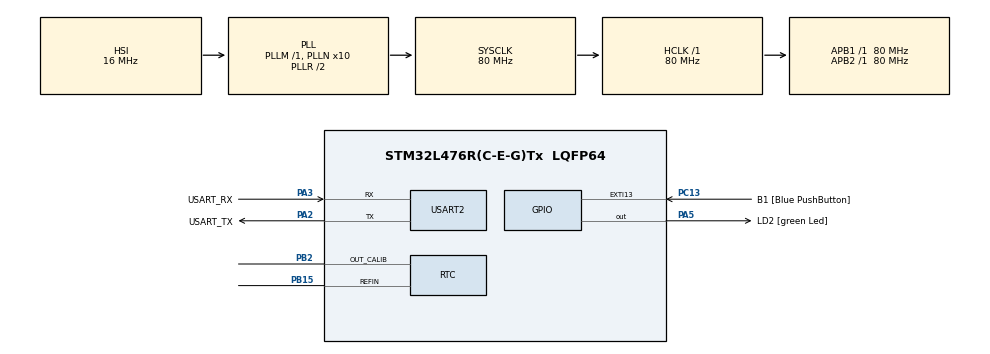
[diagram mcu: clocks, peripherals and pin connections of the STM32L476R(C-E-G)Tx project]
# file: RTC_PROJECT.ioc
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Mcu.Family=STM32L4
Mcu.Name=STM32L476R(C-E-G)Tx
Mcu.Package=LQFP64
NVIC.PriorityGroup=NVIC_PRIORITYGROUP_4
PA13\ (JTMS-SWDIO).GPIO_Label=TMS
PA13\ (JTMS-SWDIO).Mode=Serial_Wire
PA13\ (JTMS-SWDIO).Signal=SYS_JTMS-SWDIO
PA14\ (JTCK-SWCLK).GPIO_Label=TCK
PA14\ (JTCK-SWCLK).Mode=Serial_Wire
PA14\ (JTCK-SWCLK).Signal=SYS_JTCK-SWCLK
PA2.GPIO_Label=USART_TX
PA2.GPIO_Mode=GPIO_MODE_AF_PP
PA2.GPIO_PuPd=GPIO_NOPULL
PA2.GPIO_Speed=GPIO_SPEED_FREQ_VERY_HIGH
PA2.Mode=Asynchronous
PA2.Signal=USART2_TX
PA3.GPIO_Label=USART_RX
PA3.GPIO_Mode=GPIO_MODE_AF_PP
PA3.GPIO_PuPd=GPIO_NOPULL
PA3.GPIO_Speed=GPIO_SPEED_FREQ_VERY_HIGH
PA3.Mode=Asynchronous
PA3.Signal=USART2_RX
PA5.GPIO_Label=LD2 [green Led]
PA5.GPIO_ModeDefaultOutputPP=GPIO_MODE_OUTPUT_PP
PA5.GPIO_PuPd=GPIO_NOPULL
PA5.GPIO_Speed=GPIO_SPEED_FREQ_LOW
PA5.Signal=GPIO_Output
PB15.Mode=Reference_Clock_Detection_Activate
PB15.Signal=RTC_REFIN
PB2.Mode=Calibration_1Hz
PB2.Signal=RTC_OUT_CALIB
PB3\ (JTDO-TRACESWO).GPIO_Label=SWO
PB3\ (JTDO-TRACESWO).Signal=SYS_JTDO-SWO
PC13.GPIO_Label=B1 [Blue PushButton]
PC13.GPIO_ModeDefaultEXTI=GPIO_MODE_IT_FALLING
PC13.GPIO_PuPd=GPIO_NOPULL
PC13.Signal=GPXTI13
PC14-OSC32_IN\ (PC14).Mode=LSE-External-Oscillator
PC14-OSC32_IN\ (PC14).Signal=RCC_OSC32_IN
PC15-OSC32_OUT\ (PC15).Mode=LSE-External-Oscillator
PC15-OSC32_OUT\ (PC15).Signal=RCC_OSC32_OUT
PH0-OSC_IN\ (PH0).Signal=RCC_OSC_IN
PH1-OSC_OUT\ (PH1).Signal=RCC_OSC_OUT
ProjectManager.HeapSize=0x200
ProjectManager.StackSize=0x400
ProjectManager.TargetToolchain=STM32CubeIDE
RCC.ADCFreq_Value=64000000
RCC.AHBFreq_Value=80000000
RCC.APB1Freq_Value=80000000
RCC.APB1TimFreq_Value=80000000
RCC.APB2Freq_Value=80000000
RCC.APB2TimFreq_Value=80000000
RCC.CortexFreq_Value=80000000
RCC.HCLKFreq_Value=80000000
RCC.HSE_VALUE=8000000
RCC.HSI_VALUE=16000000
RCC.MSI_VALUE=4000000
RCC.PLLN=10
RCC.PLLSourceVirtual=RCC_PLLSOURCE_HSI
RCC.PREFETCH_ENABLE=1
RCC.SYSCLKFreq_VALUE=80000000
RCC.SYSCLKSource=RCC_SYSCLKSOURCE_PLLCLK
RCC.USBFreq_Value=64000000
RCC.VCOOutputFreq_Value=160000000
RTC.Date=21
RTC.Hours=10
RTC.Minutes=30
RTC.Month=RTC_MONTH_MAY
RTC.WeekDay=RTC_WEEKDAY_TUESDAY
USART2.VirtualMode-Asynchronous=VM_ASYNC
VP_RTC_VS_RTC_Activate.Mode=RTC_Enabled
VP_RTC_VS_RTC_Calendar.Mode=RTC_Calendar
board=NUCLEO-L476RG

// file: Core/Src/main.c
/* USER CODE BEGIN Header */
/**
 ******************************************************************************
 * @file           : main.c
 * @brief          : Main program body
 ******************************************************************************
 * @attention
 *
 * Copyright (c) 2024 STMicroelectronics.
 * All rights reserved.
 *
 * This software is licensed under terms that can be found in the LICENSE file
 * in the root directory of this software component.
 * If no LICENSE file comes with this software, it is provided AS-IS.
 *
 ******************************************************************************
 */
/* USER CODE END Header */
#include "main.h"
#include "rtc.h"
#include "usart.h"
#include "gpio.h"

/* USER CODE BEGIN Includes */
#include <stdio.h>
#include "timer_functions.h"

/* USER CODE END Includes */

void SystemClock_Config(void);
/* USER CODE BEGIN PFP */
int _write(int file,	//file descriptor
		char *ptr, 	//pointer to the string to transmit
		int len)		//lenght of the string
{
	for (int DataIdx = 0; DataIdx < len; DataIdx++)
	{
		//Wait untill tx data reg is ready to take data
		while(!(USART2->ISR & USART_ISR_TXE));

		//Load data totc=x reg
		USART2->TDR = (uint8_t)ptr[DataIdx];
	}
	//return number of bytes written
	return len;
}

/* USER CODE END PFP */

int main(void)
{

	/* USER CODE BEGIN 1 */
	//	set_time();
	/* USER CODE END 1 */

	/* MCU Configuration--------------------------------------------------------*/

	/* Reset of all peripherals, Initializes the Flash interface and the Systick. */
	HAL_Init();

	/* Configure the system clock */
	SystemClock_Config();

	/* Initialize all configured peripherals */
	MX_GPIO_Init();
	MX_USART2_UART_Init();
	MX_RTC_Init();
	/* USER CODE BEGIN 2 */

	set_time(0x10, 0x30, 0x0, 0x22, RTC_WEEKDAY_TUESDAY, RTC_MONTH_MAY, 0x24);

	char Time[9] = {'0/'};
	char Date[12] = {'0/'};
	char timestmp = {'0/'};

	/* USER CODE END 2 */

	/* Infinite loop */
	while (1)
	{

		/* USER CODE BEGIN 3 */
		HAL_GPIO_TogglePin(GPIOA, GPIO_PIN_5);
		HAL_Delay(500);

		get_time(Time, Date);
		get_timestamp(timestmp);
		printf("hello stm32\n\r");
		fflush(stdout);
	}
	/* USER CODE END 3 */
}

void SystemClock_Config(void)
{
	RCC_OscInitTypeDef RCC_OscInitStruct = {0};
	RCC_ClkInitTypeDef RCC_ClkInitStruct = {0};

	/** Configure the main internal regulator output voltage
	 */
	if (HAL_PWREx_ControlVoltageScaling(PWR_REGULATOR_VOLTAGE_SCALE1) != HAL_OK)
	{
		Error_Handler();
	}

	/** Initializes the RCC Oscillators according to the specified parameters
	 * in the RCC_OscInitTypeDef structure.
	 */
	RCC_OscInitStruct.OscillatorType = RCC_OSCILLATORTYPE_HSI|RCC_OSCILLATORTYPE_LSI;
	RCC_OscInitStruct.HSIState = RCC_HSI_ON;
	RCC_OscInitStruct.HSICalibrationValue = RCC_HSICALIBRATION_DEFAULT;
	RCC_OscInitStruct.LSIState = RCC_LSI_ON;
	RCC_OscInitStruct.PLL.PLLState = RCC_PLL_ON;
	RCC_OscInitStruct.PLL.PLLSource = RCC_PLLSOURCE_HSI;
	RCC_OscInitStruct.PLL.PLLM = 1;
	RCC_OscInitStruct.PLL.PLLN = 10;
	RCC_OscInitStruct.PLL.PLLP = RCC_PLLP_DIV7;
	RCC_OscInitStruct.PLL.PLLQ = RCC_PLLQ_DIV2;
	RCC_OscInitStruct.PLL.PLLR = RCC_PLLR_DIV2;
	if (HAL_RCC_OscConfig(&RCC_OscInitStruct) != HAL_OK)
	{
		Error_Handler();
	}

	/** Initializes the CPU, AHB and APB buses clocks
	 */
	RCC_ClkInitStruct.ClockType = RCC_CLOCKTYPE_HCLK|RCC_CLOCKTYPE_SYSCLK
			|RCC_CLOCKTYPE_PCLK1|RCC_CLOCKTYPE_PCLK2;
	RCC_ClkInitStruct.SYSCLKSource = RCC_SYSCLKSOURCE_PLLCLK;
	RCC_ClkInitStruct.AHBCLKDivider = RCC_SYSCLK_DIV1;
	RCC_ClkInitStruct.APB1CLKDivider = RCC_HCLK_DIV1;
	RCC_ClkInitStruct.APB2CLKDivider = RCC_HCLK_DIV1;

	if (HAL_RCC_ClockConfig(&RCC_ClkInitStruct, FLASH_LATENCY_4) != HAL_OK)
	{
		Error_Handler();
	}
}

void Error_Handler(void)
{
	__disable_irq();
	while (1)
	{
	}
}
